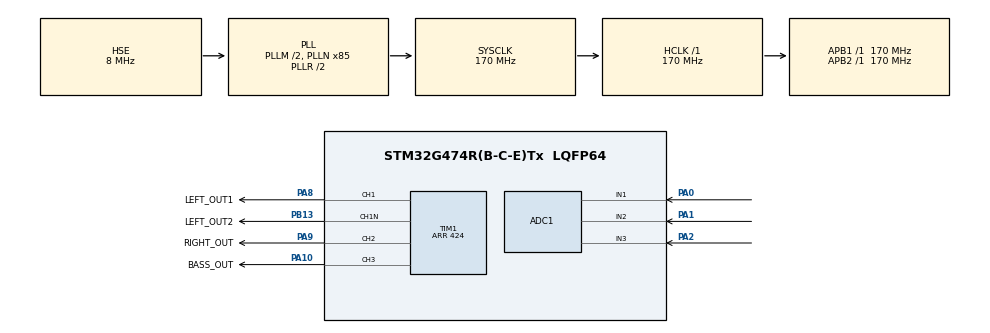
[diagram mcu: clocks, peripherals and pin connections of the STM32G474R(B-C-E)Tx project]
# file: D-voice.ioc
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ADC1.Channel-1\#ChannelRegularConversion=ADC_CHANNEL_1
ADC1.Channel-2\#ChannelRegularConversion=ADC_CHANNEL_2
ADC1.Channel-3\#ChannelRegularConversion=ADC_CHANNEL_3
ADC1.ClockPrescaler=ADC_CLOCK_ASYNC_DIV6
ADC1.NbrOfConversion=3
ADC1.NbrOfConversionFlag=1
ADC1.OffsetNumber-1\#ChannelRegularConversion=ADC_OFFSET_NONE
ADC1.OffsetNumber-2\#ChannelRegularConversion=ADC_OFFSET_NONE
ADC1.OffsetNumber-3\#ChannelRegularConversion=ADC_OFFSET_NONE
ADC1.Rank-1\#ChannelRegularConversion=1
ADC1.Rank-2\#ChannelRegularConversion=2
ADC1.Rank-3\#ChannelRegularConversion=3
ADC1.SamplingTime-1\#ChannelRegularConversion=ADC_SAMPLETIME_47CYCLES_5
ADC1.SamplingTime-2\#ChannelRegularConversion=ADC_SAMPLETIME_47CYCLES_5
ADC1.SamplingTime-3\#ChannelRegularConversion=ADC_SAMPLETIME_47CYCLES_5
ADC1.master=1
Mcu.Family=STM32G4
Mcu.Name=STM32G474R(B-C-E)Tx
Mcu.Package=LQFP64
NVIC.PriorityGroup=NVIC_PRIORITYGROUP_4
NVIC.TIM6_DAC_IRQn=true\:1\:0\:true\:false\:true\:true\:true\:true
PA0.Mode=IN1-Single-Ended
PA0.Signal=ADC1_IN1
PA1.Mode=IN2-Single-Ended
PA1.Signal=ADC1_IN2
PA10.GPIO_Label=BASS_OUT
PA10.GPIO_Speed=GPIO_SPEED_FREQ_VERY_HIGH
PA10.Signal=S_TIM1_CH3
PA13.Mode=Serial_Wire
PA13.Signal=SYS_JTMS-SWDIO
PA14.Mode=Serial_Wire
PA14.Signal=SYS_JTCK-SWCLK
PA2.Mode=IN3-Single-Ended
PA2.Signal=ADC1_IN3
PA8.GPIO_Label=LEFT_OUT1
PA8.GPIO_Speed=GPIO_SPEED_FREQ_VERY_HIGH
PA8.Signal=S_TIM1_CH1
PA9.GPIO_Label=RIGHT_OUT
PA9.GPIO_Speed=GPIO_SPEED_FREQ_VERY_HIGH
PA9.Signal=S_TIM1_CH2
PB13.GPIO_Label=LEFT_OUT2
PB13.GPIO_Speed=GPIO_SPEED_FREQ_VERY_HIGH
PB13.Mode=PWM Generation1 CH1 CH1N
PB13.Signal=TIM1_CH1N
PC14-OSC32_IN.Mode=LSE-External-Oscillator
PC14-OSC32_IN.Signal=RCC_OSC32_IN
PC15-OSC32_OUT.Mode=LSE-External-Oscillator
PC15-OSC32_OUT.Signal=RCC_OSC32_OUT
PF0-OSC_IN.Mode=HSE-External-Oscillator
PF0-OSC_IN.Signal=RCC_OSC_IN
PF1-OSC_OUT.Mode=HSE-External-Oscillator
PF1-OSC_OUT.Signal=RCC_OSC_OUT
ProjectManager.HeapSize=0x200
ProjectManager.StackSize=0x400
ProjectManager.TargetToolchain=CMake
RCC.ADC12Freq_Value=170000000
RCC.ADC345Freq_Value=170000000
RCC.AHBFreq_Value=170000000
RCC.APB1Freq_Value=170000000
RCC.APB1TimFreq_Value=170000000
RCC.APB2Freq_Value=170000000
RCC.APB2TimFreq_Value=170000000
RCC.CortexFreq_Value=170000000
RCC.EXTERNAL_CLOCK_VALUE=12288000
RCC.HCLKFreq_Value=170000000
RCC.HSE_VALUE=8000000
RCC.HSI48_VALUE=48000000
RCC.HSI_VALUE=16000000
RCC.PLLM=RCC_PLLM_DIV2
RCC.PLLN=85
RCC.PLLSourceVirtual=RCC_PLLSOURCE_HSE
RCC.SYSCLKFreq_VALUE=170000000
RCC.SYSCLKSource=RCC_SYSCLKSOURCE_PLLCLK
RCC.USBFreq_Value=170000000
RCC.VCOOutputFreq_Value=340000000
SH.S_TIM1_CH1.0=TIM1_CH1,PWM Generation1 CH1 CH1N
SH.S_TIM1_CH2.0=TIM1_CH2,PWM Generation2 CH2
SH.S_TIM1_CH3.0=TIM1_CH3,PWM Generation3 CH3
TIM1.AutoReloadPreload=TIM_AUTORELOAD_PRELOAD_ENABLE
TIM1.AutomaticOutput=TIM_AUTOMATICOUTPUT_ENABLE
TIM1.Channel-PWM\ Generation1\ CH1\ CH1N=TIM_CHANNEL_1
TIM1.Channel-PWM\ Generation2\ CH2=TIM_CHANNEL_2
TIM1.Channel-PWM\ Generation3\ CH3=TIM_CHANNEL_3
TIM1.LockLevel=TIM_LOCKLEVEL_OFF
TIM1.OC1Preload_PWM=DISABLE
TIM1.OC2Preload_PWM=DISABLE
TIM1.OC3Preload_PWM=DISABLE
TIM1.PeriodNoDither=424
TIM1.PulseNoDither_1=212
TIM1.PulseNoDither_2=212
TIM1.PulseNoDither_3=212
TIM6.PeriodNoDither=10
TIM6.Prescaler=169
TIM6.TIM_MasterOutputTrigger=TIM_TRGO_UPDATE
VP_SYS_VS_DBSignals.Mode=DisableDeadBatterySignals
VP_TIM1_VS_ClockSourceINT.Mode=Internal
VP_TIM6_VS_ClockSourceINT.Mode=Enable_Timer
board=custom

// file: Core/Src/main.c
/* USER CODE BEGIN Header */
#include <math.h>
/**
  ******************************************************************************
  * @file           : main.c
  * @brief          : Main program body
  ******************************************************************************
  * @attention
  *
  * Copyright (c) 2026 STMicroelectronics.
  * All rights reserved.
  *
  * This software is licensed under terms that can be found in the LICENSE file
  * in the root directory of this software component.
  * If no LICENSE file comes with this software, it is provided AS-IS.
  *
  ******************************************************************************
  */
/* USER CODE END Header */
#include "main.h"
#include "adc.h"
#include "tim.h"
#include "gpio.h"

/* USER CODE BEGIN PV */
// 三声道ADC采样值（0~4095）
uint16_t adc_sample_value[3] = {0, 0, 0};
// 三声道PWM比较值（0~424）
uint32_t pwm_compare_value[3] = {0, 0, 0};

// 低音低通滤波 500Hz
#define BASS_CH 2
#define Fs 50000.0f//采样率
#define Fc 500.0f//截止频率
#define LP_ALPHA (2*M_PI*Fc)/(2*M_PI*Fc + Fs)
#define TIM1_ARR 424              // TIM1 ARR值424（400kHz载波）
#define ADC_MAX_VALUE 4095        // 12位ADC最大值
#define ADC_MID_VALUE 2048        // ADC中点（1.65V偏置）
#define PWM_MID_VALUE 212         // PWM中点212（50%占空比）
#define GAIN_FACTOR 1.0f          // 增益系数（可调整，1.0为无增益，最大1.5避免削波）
static uint16_t bass_prev = ADC_MID_VALUE;//定义低音滤波初始值为ADC中点
/* USER CODE END PV */

void SystemClock_Config(void);

/* USER CODE BEGIN 0 */
void HAL_TIM_PeriodElapsedCallback(TIM_HandleTypeDef *htim)
{
  // 仅处理TIM6中断，防止其他定时器干扰
  if (htim == NULL || htim->Instance != TIM6) return;

  // 1. 启动ADC采样（单次模式，连续采样3个通道）
  HAL_ADC_Start(&hadc1);

  // 2. 等待采样完成（超时1ms，保证中断快速执行）
  if (HAL_ADC_PollForConversion(&hadc1, 1) == HAL_OK) // 轮询等待转换完成，超时时间1ms，保证中断快速执行
  {
    // 3. 读取3个声道的ADC采样值（按Sequence顺序）
    adc_sample_value[0] = HAL_ADC_GetValue(&hadc1); // 声道1（原有通道）
    HAL_ADC_PollForConversion(&hadc1, 1);    // 等待下一个通道采样完成
    adc_sample_value[1] = HAL_ADC_GetValue(&hadc1); // 声道2（PA1/IN1）
    HAL_ADC_PollForConversion(&hadc1, 1);    // 等待下一个通道采样完成
    adc_sample_value[2] = HAL_ADC_GetValue(&hadc1); // 声道3（PA2/IN2）

    // 第一阶低音500Hz低通滤波
    adc_sample_value[BASS_CH] = LP_ALPHA*adc_sample_value[BASS_CH] + (1-LP_ALPHA)*bass_prev;
    bass_prev = adc_sample_value[BASS_CH];

    // 4. 遍历处理每个声道的ADC→PWM映射（复用逻辑，减少冗余）
    for (uint8_t ch = 0; ch < 3; ch++)
    {
      // 中点对称映射（避免偏置失真）
      int32_t adc_offset = (int32_t)adc_sample_value[ch] - ADC_MID_VALUE;//减去ADC中点，得到交流音频信号（正负对称，消除直流偏置）
      adc_offset = (int32_t)((float)adc_offset * GAIN_FACTOR);           //应用增益系数，放大/缩小音频信号
      int32_t pwm_offset = (adc_offset * PWM_MID_VALUE) / ADC_MID_VALUE; //按比例映射到PWM偏移范围
      pwm_compare_value[ch] = PWM_MID_VALUE + pwm_offset;                //加上PWM中点，得到最终PWM比较值

      // 边界保护（防止削波）
      pwm_compare_value[ch] = (pwm_compare_value[ch] > TIM1_ARR) ? TIM1_ARR : pwm_compare_value[ch];
      pwm_compare_value[ch] = (pwm_compare_value[ch] < 0) ? 0 : pwm_compare_value[ch];
    }

    // 5. 更新所有PWM通道（避免中断抖动，保证同步）
    __disable_irq();//暂时屏蔽所有中断,保证同步
    __HAL_TIM_SET_COMPARE(&htim1, TIM_CHANNEL_1, pwm_compare_value[0]); // 声道1→CH1
    __HAL_TIM_SET_COMPARE(&htim1, TIM_CHANNEL_2, pwm_compare_value[1]); // 声道2→CH2（PA9）
    __HAL_TIM_SET_COMPARE(&htim1, TIM_CHANNEL_3, pwm_compare_value[2]); // 声道3→CH3（PA10）
    __enable_irq();
  }

  // 6. 停止ADC，降低功耗+减少噪声
  HAL_ADC_Stop(&hadc1);
}
/* USER CODE END 0 */

int main(void)
{

  /* MCU Configuration--------------------------------------------------------*/

  /* Reset of all peripherals, Initializes the Flash interface and the Systick. */
  HAL_Init();

  /* Configure the system clock */
  SystemClock_Config();

  /* Initialize all configured peripherals */
  MX_GPIO_Init();
  MX_ADC1_Init();
  MX_TIM1_Init();
  MX_TIM6_Init();
  /* USER CODE BEGIN 2 */
  // 1. ADC自校准（必须！降低采样偏移，提升音质）
  if (HAL_ADCEx_Calibration_Start(&hadc1, ADC_SINGLE_ENDED) != HAL_OK)
  {
    Error_Handler();
  }
  // 2. 启动TIM6定时中断（50kHz采样触发）
  if (HAL_TIM_Base_Start_IT(&htim6) != HAL_OK)
  {
    Error_Handler();
  }

  // 3. 启动TIM1主PWM+互补PWM（400kHz载波）
  //声道1：PA8和PB13
  if (HAL_TIM_PWM_Start(&htim1, TIM_CHANNEL_1) != HAL_OK)
  {
    Error_Handler();
  }
  // 启动互补PWM（PB13），全桥核心
  if (HAL_TIMEx_PWMN_Start(&htim1, TIM_CHANNEL_1) != HAL_OK)
  {
    Error_Handler();
  }
  // 声道2：CH2（PA9）
  if (HAL_TIM_PWM_Start(&htim1, TIM_CHANNEL_2) != HAL_OK)
  {
    Error_Handler();
  }
  // 声道3：CH3（PA10）
  if (HAL_TIM_PWM_Start(&htim1, TIM_CHANNEL_3) != HAL_OK)
  {
    Error_Handler();
  }
  /* USER CODE END 2 */

  /* Infinite loop */
  while (1)
  {

  }
}

void SystemClock_Config(void)
{
  RCC_OscInitTypeDef RCC_OscInitStruct = {0};
  RCC_ClkInitTypeDef RCC_ClkInitStruct = {0};

  /** Configure the main internal regulator output voltage
  */
  HAL_PWREx_ControlVoltageScaling(PWR_REGULATOR_VOLTAGE_SCALE1_BOOST);

  /** Initializes the RCC Oscillators according to the specified parameters
  * in the RCC_OscInitTypeDef structure.
  */
  RCC_OscInitStruct.OscillatorType = RCC_OSCILLATORTYPE_HSE;
  RCC_OscInitStruct.HSEState = RCC_HSE_ON;
  RCC_OscInitStruct.PLL.PLLState = RCC_PLL_ON;
  RCC_OscInitStruct.PLL.PLLSource = RCC_PLLSOURCE_HSE;
  RCC_OscInitStruct.PLL.PLLM = RCC_PLLM_DIV2;
  RCC_OscInitStruct.PLL.PLLN = 85;
  RCC_OscInitStruct.PLL.PLLP = RCC_PLLP_DIV2;
  RCC_OscInitStruct.PLL.PLLQ = RCC_PLLQ_DIV2;
  RCC_OscInitStruct.PLL.PLLR = RCC_PLLR_DIV2;
  if (HAL_RCC_OscConfig(&RCC_OscInitStruct) != HAL_OK)
  {
    Error_Handler();
  }

  /** Initializes the CPU, AHB and APB buses clocks
  */
  RCC_ClkInitStruct.ClockType = RCC_CLOCKTYPE_HCLK|RCC_CLOCKTYPE_SYSCLK
                              |RCC_CLOCKTYPE_PCLK1|RCC_CLOCKTYPE_PCLK2;
  RCC_ClkInitStruct.SYSCLKSource = RCC_SYSCLKSOURCE_PLLCLK;
  RCC_ClkInitStruct.AHBCLKDivider = RCC_SYSCLK_DIV1;
  RCC_ClkInitStruct.APB1CLKDivider = RCC_HCLK_DIV1;
  RCC_ClkInitStruct.APB2CLKDivider = RCC_HCLK_DIV1;

  if (HAL_RCC_ClockConfig(&RCC_ClkInitStruct, FLASH_LATENCY_4) != HAL_OK)
  {
    Error_Handler();
  }
}

void Error_Handler(void)
{
  __disable_irq();
  while (1)
  {
  }
}
